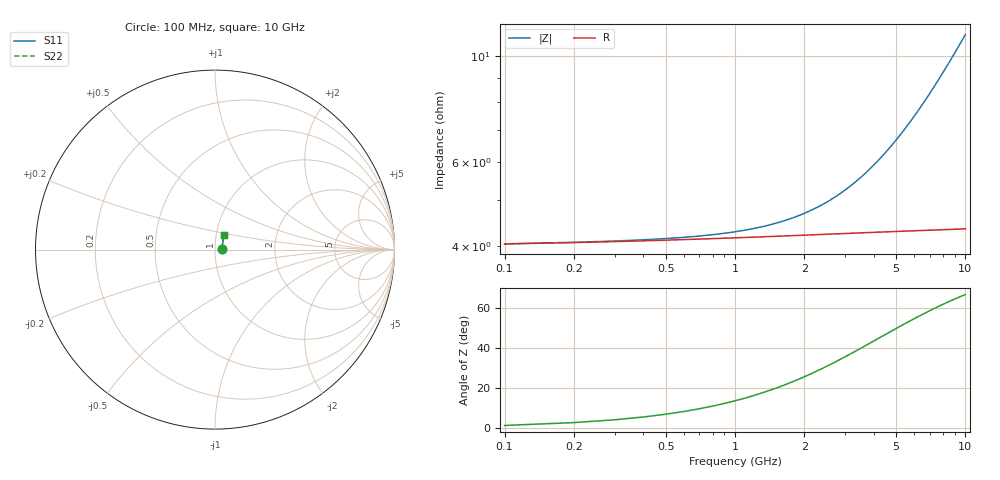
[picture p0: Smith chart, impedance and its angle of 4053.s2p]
# Hz S RI R 50.00
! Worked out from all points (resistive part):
!   100 points, 100 MHz to 10 GHz, reference 50 ohm
!   read as one part in series: R = 4.05 ohm at 100 MHz
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1e8  0.0389 0.000825  0.9611 -0.00106  0.9611 -0.00106  0.0389 0.000825
2e8  0.0392 0.00165  0.9608 -0.00212  0.9608 -0.00212  0.0392 0.00165
3e8  0.0394 0.00247  0.9606 -0.00318  0.9606 -0.00318  0.0394 0.00247
8e8  0.0399 0.00658  0.9601 -0.00847  0.9601 -0.00847  0.0399 0.00658
1.1e9  0.0402 0.00905  0.9598 -0.0116  0.9598 -0.0116  0.0402 0.00905
1.4e9  0.0404 0.0115  0.9595 -0.0148  0.9595 -0.0148  0.0404 0.0115
1.6e9  0.0406 0.0131  0.9594 -0.0169  0.9594 -0.0169  0.0406 0.0131
1.8e9  0.0407 0.0148  0.9592 -0.019  0.9592 -0.019  0.0407 0.0148
2.1e9  0.041 0.0172  0.959 -0.0222  0.959 -0.0222  0.041 0.0172
2.5e9  0.0413 0.0205  0.9587 -0.0264  0.9587 -0.0264  0.0413 0.0205
2.9e9  0.0416 0.0238  0.9584 -0.0306  0.9584 -0.0306  0.0416 0.0238
3.4e9  0.042 0.0279  0.958 -0.0359  0.958 -0.0359  0.042 0.0279
3.9e9  0.0424 0.032  0.9575 -0.0412  0.9575 -0.0412  0.0424 0.032
5.1e9  0.0436 0.0417  0.9563 -0.0538  0.9563 -0.0538  0.0436 0.0417
5.9e9  0.0445 0.0482  0.9554 -0.0621  0.9554 -0.0621  0.0445 0.0482
6.7e9  0.0455 0.0547  0.9543 -0.0705  0.9543 -0.0705  0.0455 0.0547
7.2e9  0.0462 0.0587  0.9536 -0.0757  0.9536 -0.0757  0.0462 0.0587
7.6e9  0.0468 0.0619  0.9531 -0.0799  0.9531 -0.0799  0.0468 0.0619
8e9  0.0474 0.0651  0.9524 -0.084  0.9524 -0.084  0.0474 0.0651
8.4e9  0.048 0.0683  0.9518 -0.0882  0.9518 -0.0882  0.048 0.0683
9.2e9  0.0493 0.0747  0.9504 -0.0965  0.9504 -0.0965  0.0493 0.0747
1e10  0.0508 0.0811  0.9489 -0.1047  0.9489 -0.1047  0.0508 0.0811
